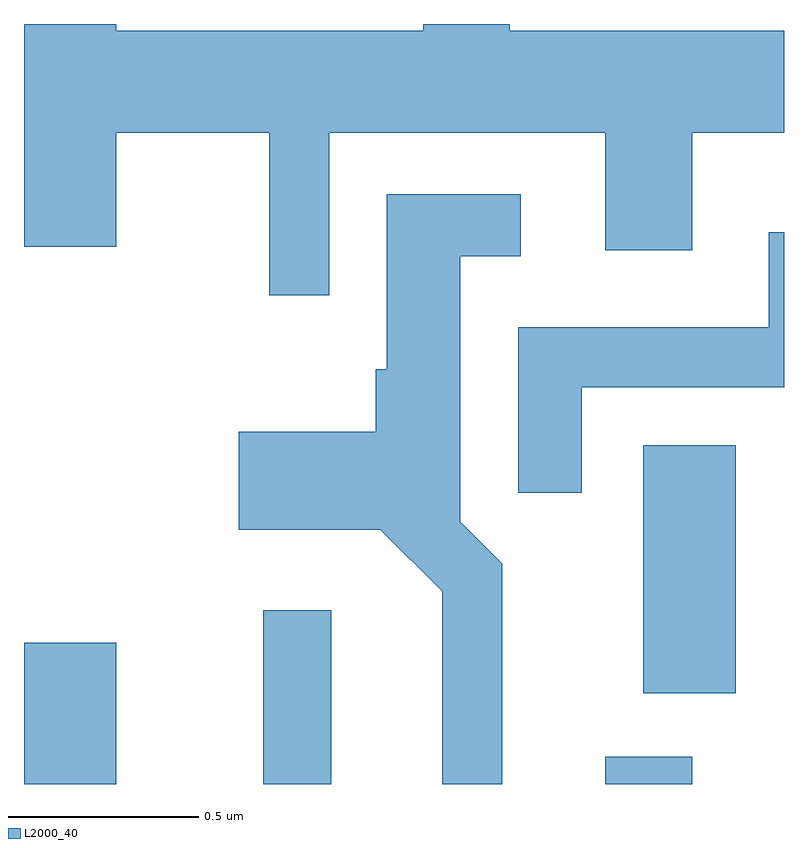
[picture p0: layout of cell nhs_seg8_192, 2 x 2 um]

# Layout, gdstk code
import gdstk
lib = gdstk.Library(unit=1e-6, precision=1e-09)
def R(c, l, rs):  # rectangles x0, y0, x1, y1
    for r in rs: c.add(gdstk.rectangle(r[:2], r[2:], *l))
def P(c, l, *ps):  # polygons
    for p in ps: c.add(gdstk.Polygon(p, *l))
L2000_40 = (2000, 40)

nhs_seg8_192 = lib.new_cell('nhs_seg8_192')
R(nhs_seg8_192, L2000_40, [(186.611,1861.342,186.854,1861.714), (187.241,1861.342,187.419,1861.799), (188.141,1861.342,188.369,1861.414), (188.241,1861.581,188.484,1862.234)])
P(nhs_seg8_192, L2000_40, [(187.414,1863.056),(188.141,1863.056),(188.141,1862.746),(188.369,1862.746),(188.369,1863.056),(188.611,1863.056),(188.611,1863.324),(187.889,1863.324),(187.889,1863.342),(187.661,1863.342),(187.661,1863.324),(186.854,1863.324),(186.854,1863.342),(186.611,1863.342),(186.611,1862.756),(186.854,1862.756),(186.854,1863.056),(187.256,1863.056),(187.256,1862.628),(187.414,1862.628)],
  [(187.869,1861.922),(187.759,1862.032),(187.759,1862.731),(187.918,1862.731),(187.918,1862.894),(187.566,1862.894),(187.566,1862.434),(187.536,1862.434),(187.536,1862.269),(187.176,1862.269),(187.176,1862.011),(187.549,1862.011),(187.711,1861.849),(187.711,1861.342),(187.869,1861.342)],
  [(188.079,1862.386),(188.611,1862.386),(188.611,1862.794),(188.571,1862.794),(188.571,1862.544),(187.911,1862.544),(187.911,1862.108),(188.079,1862.108)])

lib.write_gds('nhs_seg8_192.gds')
